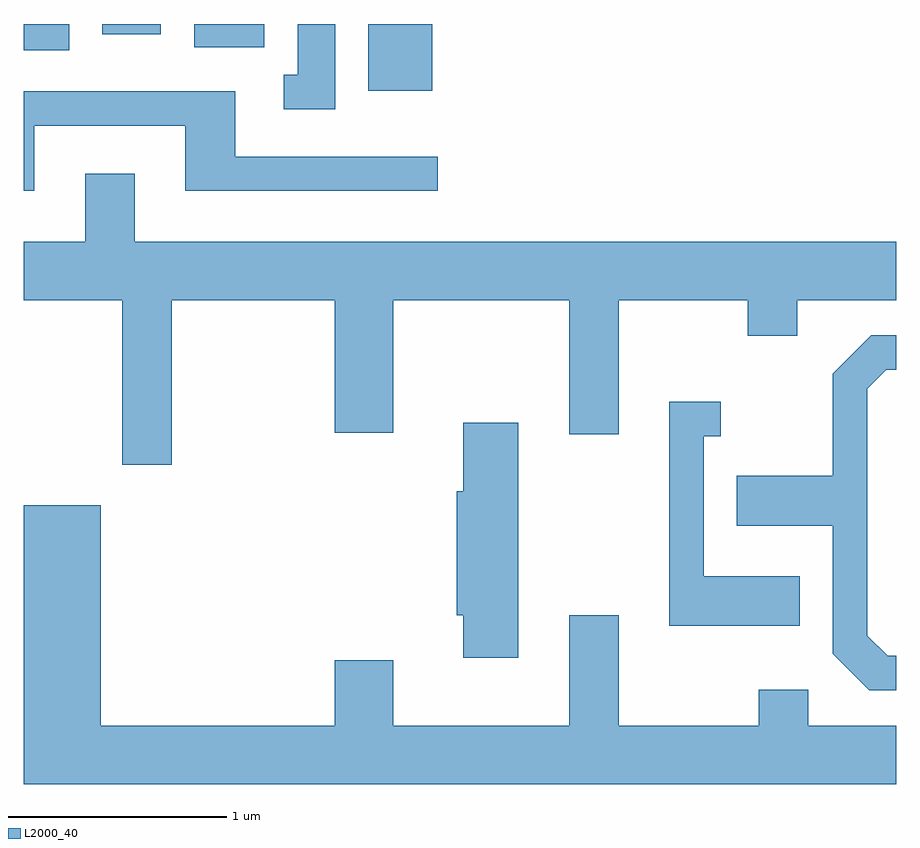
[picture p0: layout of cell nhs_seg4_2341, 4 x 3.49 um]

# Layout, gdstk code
import gdstk
lib = gdstk.Library(unit=1e-6, precision=1e-09)
def R(c, l, rs):  # rectangles x0, y0, x1, y1
    for r in rs: c.add(gdstk.rectangle(r[:2], r[2:], *l))
def P(c, l, *ps):  # polygons
    for p in ps: c.add(gdstk.Polygon(p, *l))
L2000_40 = (2000, 40)

nhs_seg4_2341 = lib.new_cell('nhs_seg4_2341')
R(nhs_seg4_2341, L2000_40, [(255.191,1315.676,255.484,1315.982), (253.611,1315.861,253.819,1315.982), (254.391,1315.876,254.714,1315.982), (253.971,1315.936,254.239,1315.982)])
P(nhs_seg4_2341, L2000_40, [(255.039,1315.982),(254.866,1315.982),(254.866,1315.749),(254.803,1315.749),(254.803,1315.591),(255.039,1315.591)],
  [(253.659,1315.516),(254.351,1315.516),(254.351,1315.216),(255.508,1315.216),(255.508,1315.374),(254.579,1315.374),(254.579,1315.674),(253.611,1315.674),(253.611,1315.216),(253.659,1315.216)],
  [(254.289,1314.716),(255.036,1314.716),(255.036,1314.106),(255.304,1314.106),(255.304,1314.716),(256.111,1314.716),(256.111,1314.101),(256.339,1314.101),(256.339,1314.716),(256.931,1314.716),(256.931,1314.551),(257.159,1314.551),(257.159,1314.716),(257.611,1314.716),(257.611,1314.984),(254.119,1314.984),(254.119,1315.294),(253.891,1315.294),(253.891,1314.984),(253.611,1314.984),(253.611,1314.716),(254.061,1314.716),(254.061,1313.961),(254.289,1313.961)],
  [(257.611,1313.084),(257.572,1313.084),(257.479,1313.177),(257.479,1314.309),(257.567,1314.396),(257.611,1314.396),(257.611,1314.554),(257.498,1314.554),(257.321,1314.377),(257.321,1313.909),(256.881,1313.909),(256.881,1313.681),(257.321,1313.681),(257.321,1313.094),(257.489,1312.926),(257.611,1312.926)],
  [(257.169,1313.449),(256.729,1313.449),(256.729,1314.091),(256.808,1314.091),(256.808,1314.249),(256.571,1314.249),(256.571,1313.221),(257.169,1313.221)],
  [(255.879,1314.154),(255.626,1314.154),(255.626,1313.839),(255.596,1313.839),(255.596,1313.271),(255.626,1313.271),(255.626,1313.076),(255.879,1313.076)],
  [(257.611,1312.764),(257.209,1312.764),(257.209,1312.929),(256.981,1312.929),(256.981,1312.764),(256.339,1312.764),(256.339,1313.269),(256.111,1313.269),(256.111,1312.764),(255.304,1312.764),(255.304,1313.064),(255.036,1313.064),(255.036,1312.764),(253.964,1312.764),(253.964,1313.774),(253.611,1313.774),(253.611,1312.496),(257.611,1312.496)])

lib.write_gds('nhs_seg4_2341.gds')
